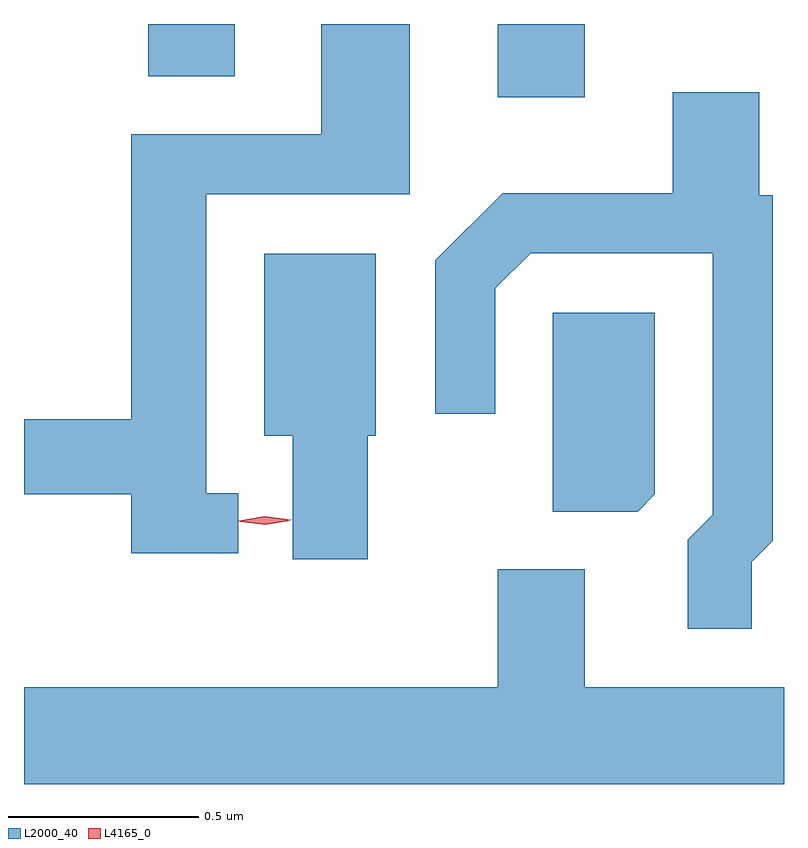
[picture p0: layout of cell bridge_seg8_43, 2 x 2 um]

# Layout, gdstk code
import gdstk
lib = gdstk.Library(unit=1e-6, precision=1e-09)
def R(c, l, rs):  # rectangles x0, y0, x1, y1
    for r in rs: c.add(gdstk.rectangle(r[:2], r[2:], *l))
def P(c, l, *ps):  # polygons
    for p in ps: c.add(gdstk.Polygon(p, *l))
L2000_40 = (2000, 40)
L4165_0 = (4165, 0)

bridge_seg8_43 = lib.new_cell('bridge_seg8_43')
R(bridge_seg8_43, L2000_40, [(1608.201,1904.836,1608.429,1905.029), (1607.281,1904.891,1607.509,1905.029)])
P(bridge_seg8_43, L2000_40, [(1607.518,1903.794),(1607.434,1903.794),(1607.434,1904.581),(1607.969,1904.581),(1607.969,1905.029),(1607.736,1905.029),(1607.736,1904.739),(1607.236,1904.739),(1607.236,1903.989),(1606.954,1903.989),(1606.954,1903.791),(1607.236,1903.791),(1607.236,1903.636),(1607.518,1903.636)],
  [(1608.869,1903.614),(1608.924,1903.669),(1608.924,1904.579),(1608.889,1904.579),(1608.889,1904.849),(1608.661,1904.849),(1608.661,1904.584),(1608.214,1904.584),(1608.036,1904.407),(1608.036,1904.003),(1608.194,1904.003),(1608.194,1904.334),(1608.287,1904.426),(1608.766,1904.426),(1608.766,1903.737),(1608.701,1903.672),(1608.701,1903.438),(1608.869,1903.438)],
  [(1607.859,1903.946),(1607.879,1903.946),(1607.879,1904.424),(1607.586,1904.424),(1607.586,1903.946),(1607.661,1903.946),(1607.661,1903.621),(1607.859,1903.621)],
  [(1608.614,1903.792),(1608.614,1904.269),(1608.346,1904.269),(1608.346,1903.746),(1608.569,1903.746)],
  [(1608.954,1903.284),(1608.429,1903.284),(1608.429,1903.594),(1608.201,1903.594),(1608.201,1903.284),(1606.954,1903.284),(1606.954,1903.029),(1608.954,1903.029)])
P(bridge_seg8_43, L4165_0, [(1607.589,1903.711),(1607.522,1903.719),(1607.522,1903.72),(1607.522,1903.72),(1607.588,1903.731),(1607.654,1903.722),(1607.655,1903.722),(1607.654,1903.722)],
  [(1607.588,1903.713),(1607.519,1903.722),(1607.519,1903.722),(1607.519,1903.722),(1607.588,1903.733),(1607.657,1903.725),(1607.658,1903.725),(1607.657,1903.724)])

lib.write_gds('bridge_seg8_43.gds')
